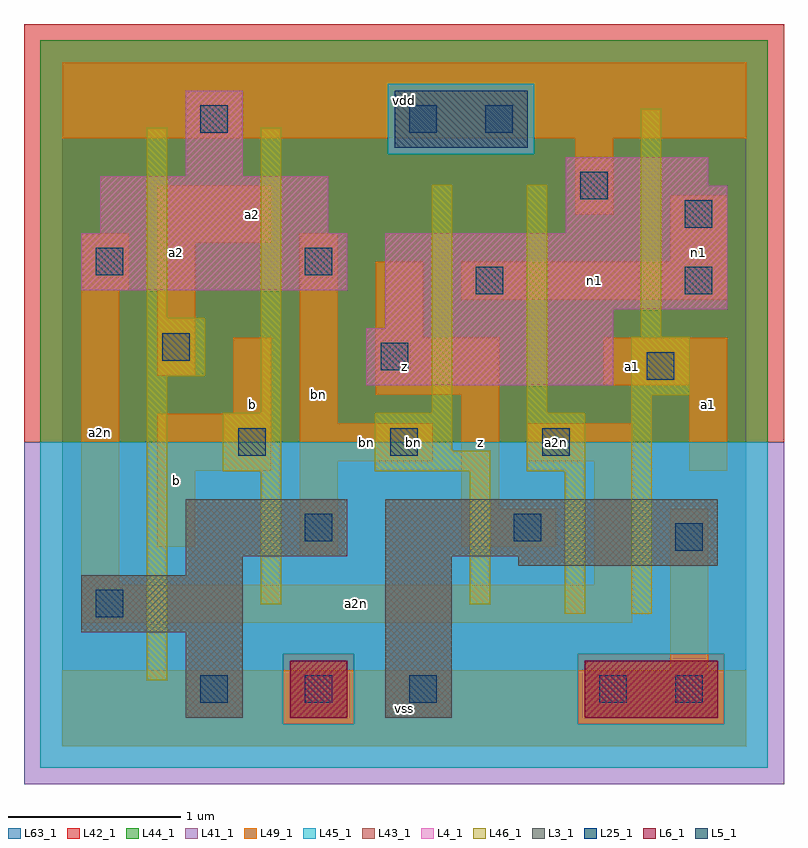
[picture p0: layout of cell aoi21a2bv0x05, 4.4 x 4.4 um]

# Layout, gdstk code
import gdstk
lib = gdstk.Library(unit=1e-6, precision=1e-09)
def R(c, l, rs):  # rectangles x0, y0, x1, y1
    for r in rs: c.add(gdstk.rectangle(r[:2], r[2:], *l))
def A(c, l, x, y, w, h, nx, ny, dx, dy):  # array of equal rectangles
    R(c, l, [(x+i*dx, y+j*dy, x+i*dx+w, y+j*dy+h) for i in range(nx) for j in range(ny)])
L3_1 = (3, 1)
L4_1 = (4, 1)
L5_1 = (5, 1)
L6_1 = (6, 1)
L25_1 = (25, 1)
L41_1 = (41, 1)
L42_1 = (42, 1)
L43_1 = (43, 1)
L44_1 = (44, 1)
L45_1 = (45, 1)
L46_1 = (46, 1)
L49_1 = (49, 1)
L63_1 = (63, 1)

aoi21a2bv0x05 = lib.new_cell('aoi21a2bv0x05')
R(aoi21a2bv0x05, L3_1, [(0.715,0.165,1.045,0.66), (1.87,0.165,2.255,1.1), (0.11,0.66,1.045,0.99), (0.715,0.99,1.045,1.1), (2.64,1.045,3.795,1.1), (0.715,1.1,1.65,1.43), (1.87,1.1,3.795,1.43)])
R(aoi21a2bv0x05, L4_1, [(1.76,2.09,3.19,2.42), (1.87,2.42,3.19,2.53), (1.87,2.53,3.85,2.97), (0.11,2.64,1.65,2.97), (0.22,2.97,1.54,3.3), (2.915,2.97,3.85,3.245), (2.915,3.245,3.74,3.41), (0.715,3.3,1.045,3.795)])
R(aoi21a2bv0x05, L5_1, [(1.925,3.465,2.695,3.795)])
R(aoi21a2bv0x05, L6_1, [(1.32,0.165,1.65,0.495), (3.025,0.165,3.795,0.495)])
A(aoi21a2bv0x05, L25_1, 0.8, 0.25, 0.16, 0.16, 3, 1, 0.605, 0)
A(aoi21a2bv0x05, L25_1, 1.02, 1.68, 0.16, 0.16, 3, 1, 0.88, 0)
R(aoi21a2bv0x05, L25_1, [(3.11,0.25,3.27,0.41), (3.55,0.25,3.71,0.41), (0.195,0.745,0.355,0.905), (3.55,1.13,3.71,1.29), (1.405,1.185,1.565,1.345), (2.615,1.185,2.775,1.345), (3.385,2.12,3.545,2.28), (1.845,2.175,2.005,2.335), (0.58,2.23,0.74,2.39), (2.395,2.615,2.555,2.775), (3.605,2.615,3.765,2.775), (0.195,2.725,0.355,2.885), (1.405,2.725,1.565,2.885), (3.605,3,3.765,3.16), (3,3.165,3.16,3.325), (0.8,3.55,0.96,3.71), (2.01,3.55,2.17,3.71), (2.45,3.55,2.61,3.71)])
R(aoi21a2bv0x05, L41_1, [(-0.22,-0.22,4.18,1.76)])
R(aoi21a2bv0x05, L42_1, [(-0.22,1.76,4.18,4.18)])
R(aoi21a2bv0x05, L43_1, [(0.715,0.165,1.045,0.66), (1.32,0.165,1.65,0.495), (1.87,0.165,2.255,1.1), (3.025,0.165,3.795,0.495), (0.11,0.66,1.045,0.99), (0.715,0.99,1.045,1.1), (2.64,1.045,3.795,1.1), (0.715,1.1,1.65,1.43), (1.87,1.1,3.795,1.43), (1.76,2.09,3.19,2.42), (1.87,2.42,3.19,2.53), (1.87,2.53,3.85,2.97), (0.11,2.64,1.65,2.97), (0.22,2.97,1.54,3.3), (2.915,2.97,3.85,3.245), (2.915,3.245,3.74,3.41), (0.715,3.3,1.045,3.795), (1.925,3.465,2.695,3.795)])
R(aoi21a2bv0x05, L44_1, [(1.28,0.125,1.69,0.535), (2.985,0.125,3.835,0.535), (-0.125,1.76,4.085,3.425), (-0.125,3.425,1.885,3.835), (2.735,3.425,4.085,3.835), (-0.125,3.835,4.085,4.085)])
R(aoi21a2bv0x05, L45_1, [(-0.125,-0.125,4.085,0.125), (-0.125,0.125,1.28,0.535), (1.69,0.125,2.985,0.535), (3.835,0.125,4.085,0.535), (-0.125,0.535,4.085,1.76), (1.885,3.425,2.735,3.835)])
R(aoi21a2bv0x05, L46_1, [(0.49,0.38,0.61,2.14), (2.91,0.765,3.03,1.59), (3.295,0.765,3.415,2.03), (1.15,0.82,1.27,1.59), (2.36,0.82,2.48,1.59), (0.93,1.59,1.27,1.93), (1.81,1.59,2.48,1.71), (2.69,1.59,3.03,1.93), (1.81,1.71,2.26,1.93), (1.15,1.93,1.27,3.58), (2.14,1.93,2.26,3.25), (2.69,1.93,2.81,3.25), (3.295,2.03,3.635,2.37), (0.49,2.14,0.83,2.48), (3.35,2.37,3.47,3.69), (0.49,2.48,0.61,3.58)])
R(aoi21a2bv0x05, L49_1, [(0,0,3.96,0.44), (3.52,0.44,3.74,1.375), (0.11,0.715,3.3,0.935), (0.11,0.935,0.33,2.64), (3.08,0.935,3.3,1.65), (1.375,1.1,1.595,1.65), (0.55,1.155,0.77,1.595), (2.31,1.155,2.86,1.375), (2.31,1.375,2.53,2.035), (0.55,1.595,1.21,1.925), (3.63,1.595,3.85,2.09), (1.375,1.65,2.145,1.87), (2.695,1.65,3.3,1.87), (1.375,1.87,1.595,2.97), (0.99,1.925,1.21,2.365), (1.815,2.035,2.53,2.365), (3.135,2.09,3.85,2.365), (0.55,2.145,0.77,2.915), (1.815,2.365,2.09,2.805), (2.31,2.585,3.85,2.805), (0.11,2.64,0.385,2.97), (3.52,2.805,3.85,3.19), (0.55,2.915,1.21,3.245), (2.97,3.08,3.19,3.52), (0,3.52,3.96,3.96)])
R(aoi21a2bv0x05, L63_1, [(0,0,3.96,3.96)])
aoi21a2bv0x05.add(gdstk.Label('bn', (2.035,1.76), layer=49, texttype=1))
aoi21a2bv0x05.add(gdstk.Label('a2n', (2.86,1.76), layer=49, texttype=1))
aoi21a2bv0x05.add(gdstk.Label('b', (0.66,1.54), layer=49, texttype=1))
aoi21a2bv0x05.add(gdstk.Label('a2n', (0.22,1.815), layer=49, texttype=1))
aoi21a2bv0x05.add(gdstk.Label('a2', (0.66,2.86), layer=49, texttype=1))
aoi21a2bv0x05.add(gdstk.Label('bn', (1.485,2.035), layer=49, texttype=1))
aoi21a2bv0x05.add(gdstk.Label('b', (1.1,1.98), layer=49, texttype=1))
aoi21a2bv0x05.add(gdstk.Label('a2', (1.1,3.08), layer=49, texttype=1))
aoi21a2bv0x05.add(gdstk.Label('vss', (1.98,0.22), layer=49, texttype=1))
aoi21a2bv0x05.add(gdstk.Label('bn', (1.76,1.76), layer=49, texttype=1))
aoi21a2bv0x05.add(gdstk.Label('z', (2.42,1.76), layer=49, texttype=1))
aoi21a2bv0x05.add(gdstk.Label('z', (1.98,2.2), layer=49, texttype=1))
aoi21a2bv0x05.add(gdstk.Label('vdd', (1.98,3.74), layer=49, texttype=1))
aoi21a2bv0x05.add(gdstk.Label('a2n', (1.705,0.825), layer=49, texttype=1))
aoi21a2bv0x05.add(gdstk.Label('a2n', (2.97,1.76), layer=49, texttype=1))
aoi21a2bv0x05.add(gdstk.Label('a1', (3.3,2.2), layer=49, texttype=1))
aoi21a2bv0x05.add(gdstk.Label('a1', (3.74,1.98), layer=49, texttype=1))
aoi21a2bv0x05.add(gdstk.Label('n1', (3.08,2.695), layer=49, texttype=1))
aoi21a2bv0x05.add(gdstk.Label('n1', (3.685,2.86), layer=49, texttype=1))

lib.write_gds('aoi21a2bv0x05.gds')
